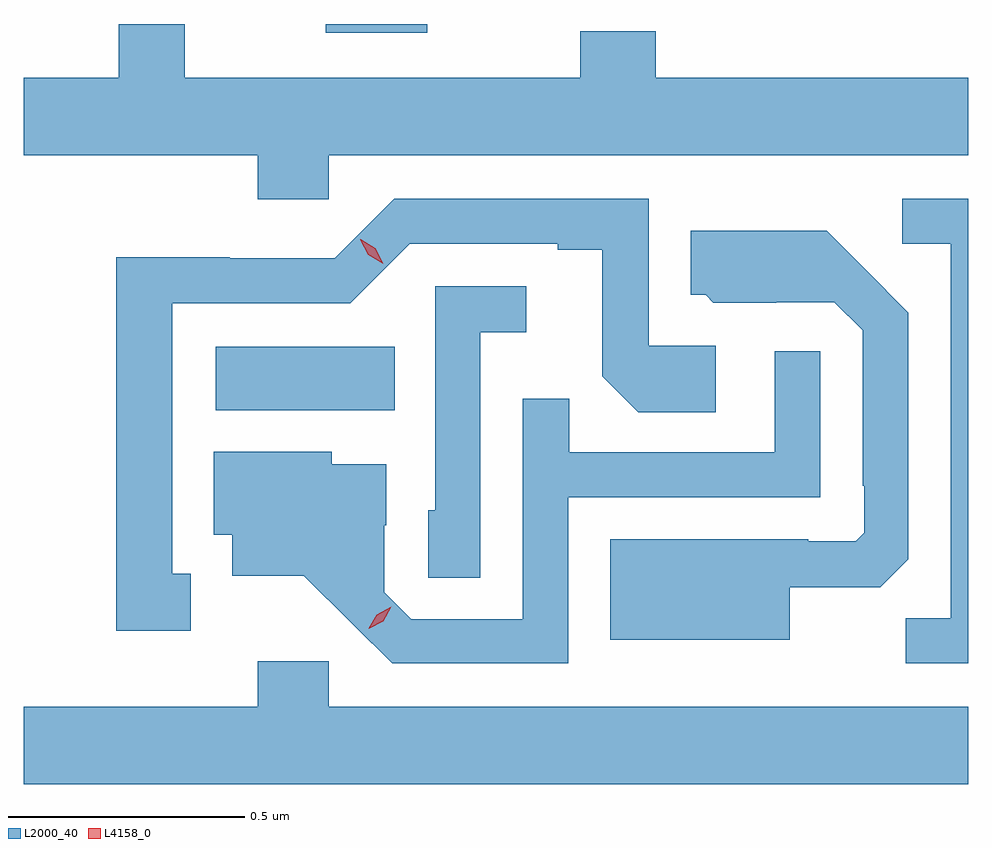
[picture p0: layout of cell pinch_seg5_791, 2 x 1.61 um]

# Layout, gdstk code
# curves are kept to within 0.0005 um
import gdstk
lib = gdstk.Library(unit=1e-6, precision=1e-09)
def R(c, l, rs):  # rectangles x0, y0, x1, y1
    for r in rs: c.add(gdstk.rectangle(r[:2], r[2:], *l))
def P(c, l, *ps):  # polygons
    for p in ps: c.add(gdstk.Polygon(p, *l))
L2000_40 = (2000, 40)
L4158_0 = (4158, 0)

pinch_seg5_791 = lib.new_cell('pinch_seg5_791')
R(pinch_seg5_791, L2000_40, [(797.604,909.5,797.984,909.634), (797.837,910.299,798.052,910.318)])
P(pinch_seg5_791, L2000_40, [(797.844,910.04),(799.198,910.04),(799.198,910.204),(798.536,910.204),(798.536,910.303),(798.376,910.303),(798.376,910.204),(797.539,910.204),(797.539,910.318),(797.399,910.318),(797.399,910.204),(797.198,910.204),(797.198,910.04),(797.693,910.04),(797.693,909.947),(797.844,909.947)],
  [(799.198,909.948),(799.059,909.948),(799.059,909.852),(799.161,909.852),(799.161,909.059),(799.066,909.059),(799.066,908.964),(799.198,908.964)],
  [(797.551,909.153),(797.512,909.153),(797.512,909.726),(797.889,909.726),(798.015,909.852),(798.329,909.852),(798.329,909.84),(798.423,909.84),(798.423,909.572),(798.499,909.496),(798.664,909.496),(798.664,909.636),(798.522,909.636),(798.522,909.948),(797.982,909.948),(797.856,909.822),(797.634,909.822),(797.634,909.824),(797.394,909.824),(797.394,909.033),(797.551,909.033)],
  [(798.82,909.125),(799.012,909.125),(799.071,909.184),(799.071,909.706),(798.899,909.88),(798.611,909.88),(798.611,909.744),(798.642,909.744),(798.658,909.728),(798.792,909.728),(798.792,909.729),(798.915,909.729),(798.975,909.669),(798.975,909.34),(798.978,909.34),(798.978,909.24),(798.96,909.222),(798.86,909.222),(798.86,909.226),(798.44,909.226),(798.44,909.014),(798.82,909.014)],
  [(798.165,909.665),(798.262,909.665),(798.262,909.762),(798.069,909.762),(798.069,909.288),(798.054,909.288),(798.054,909.145),(798.165,909.145)],
  [(798.351,909.315),(798.885,909.315),(798.885,909.625),(798.789,909.625),(798.789,909.411),(798.353,909.411),(798.353,909.524),(798.255,909.524),(798.255,909.057),(798.018,909.057),(797.961,909.114),(797.961,909.256),(797.965,909.256),(797.965,909.385),(797.85,909.385),(797.85,909.412),(797.6,909.412),(797.6,909.236),(797.639,909.236),(797.639,909.149),(797.791,909.149),(797.978,908.964),(798.351,908.964)],
  [(799.198,908.872),(797.844,908.872),(797.844,908.968),(797.693,908.968),(797.693,908.872),(797.198,908.872),(797.198,908.708),(799.198,908.708)])
P(pinch_seg5_791, L4158_0, [(797.928,909.037),(797.928,909.038),(797.945,909.067),(797.976,909.083),(797.976,909.083),(797.976,909.083),(797.959,909.053),(797.928,909.037)],
  [(797.959,909.81),(797.927,909.829),(797.91,909.861),(797.91,909.862),(797.911,909.862),(797.942,909.843),(797.959,909.81),(797.959,909.81)])

lib.write_gds('pinch_seg5_791.gds')
